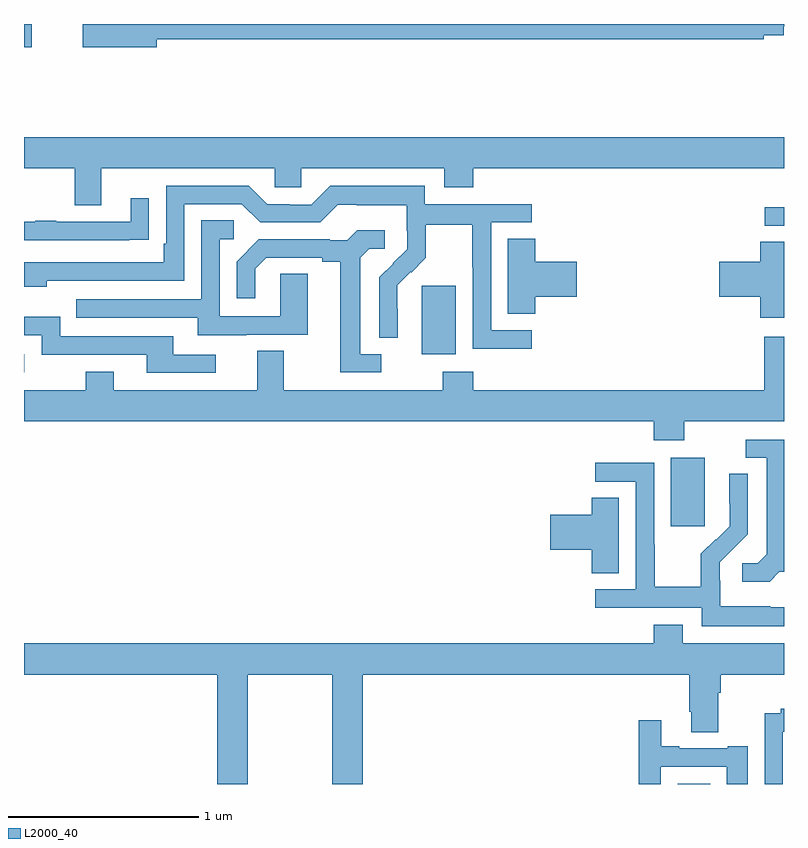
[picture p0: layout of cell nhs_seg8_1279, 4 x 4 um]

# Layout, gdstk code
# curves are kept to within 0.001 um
import gdstk
lib = gdstk.Library(unit=1e-6, precision=1e-09)
def R(c, l, rs):  # rectangles x0, y0, x1, y1
    for r in rs: c.add(gdstk.rectangle(r[:2], r[2:], *l))
def P(c, l, *ps):  # polygons
    for p in ps: c.add(gdstk.Polygon(p, *l))
L2000_40 = (2000, 40)

nhs_seg8_1279 = lib.new_cell('nhs_seg8_1279')
R(nhs_seg8_1279, L2000_40, [(194.441,1139.9,194.611,1139.902), (194.405,1141.257,194.584,1141.618), (191,1142.067,191.002,1142.163), (193.094,1142.162,193.273,1142.523), (194.898,1142.838,195,1142.936), (191,1143.778,191.041,1143.9)])
P(nhs_seg8_1279, L2000_40, [(191.698,1143.82),(194.894,1143.82),(194.894,1143.84),(194.998,1143.84),(194.998,1143.887),(195,1143.887),(195,1143.9),(191.31,1143.9),(191.31,1143.778),(191.698,1143.778)],
  [(191,1143.14),(191.267,1143.14),(191.267,1142.946),(191.407,1142.946),(191.407,1143.14),(192.321,1143.14),(192.321,1143.042),(192.459,1143.042),(192.459,1143.14),(193.211,1143.14),(193.211,1143.041),(193.364,1143.041),(193.364,1143.14),(195,1143.14),(195,1143.304),(191,1143.304)],
  [(193.672,1142.289),(193.458,1142.289),(193.458,1142.856),(193.672,1142.856),(193.672,1142.952),(193.11,1142.952),(193.11,1143.049),(192.613,1143.049),(192.513,1142.949),(192.398,1142.949),(192.398,1142.952),(192.279,1142.952),(192.183,1143.048),(191.748,1143.048),(191.748,1142.743),(191.735,1142.743),(191.735,1142.646),(191,1142.646),(191,1142.516),(191.12,1142.516),(191.12,1142.55),(191.844,1142.55),(191.844,1142.952),(192.147,1142.952),(192.243,1142.856),(192.558,1142.856),(192.651,1142.949),(192.751,1142.949),(192.751,1142.945),(193.014,1142.945),(193.014,1142.811),(193.016,1142.811),(193.016,1142.714),(192.87,1142.566),(192.87,1142.248),(192.966,1142.248),(192.965,1142.525),(193.035,1142.595),(193.038,1142.592),(193.115,1142.669),(193.115,1142.844),(193.36,1142.844),(193.36,1142.62),(193.362,1142.62),(193.362,1142.191),(193.672,1142.191)],
  [(191.555,1142.764),(191.657,1142.764),(191.657,1142.983),(191.561,1142.983),(191.561,1142.859),(191.171,1142.859),(191.171,1142.864),(191.059,1142.864),(191.059,1142.859),(191,1142.859),(191,1142.763),(191.555,1142.763)],
  [(192.169,1142.265),(192.493,1142.265),(192.493,1142.585),(192.348,1142.585),(192.348,1142.361),(192.03,1142.361),(192.03,1142.766),(192.103,1142.766),(192.103,1142.867),(191.934,1142.867),(191.934,1142.451),(191.275,1142.451),(191.275,1142.355),(191.915,1142.355),(191.915,1142.261),(192.169,1142.261)],
  [(192.88,1142.163),(192.769,1142.163),(192.769,1142.671),(192.816,1142.718),(192.898,1142.718),(192.898,1142.815),(192.754,1142.815),(192.702,1142.763),(192.608,1142.763),(192.608,1142.766),(192.236,1142.766),(192.12,1142.65),(192.12,1142.457),(192.217,1142.457),(192.217,1142.613),(192.274,1142.67),(192.569,1142.67),(192.569,1142.648),(192.665,1142.648),(192.665,1142.067),(192.88,1142.067)],
  [(193.691,1142.465),(193.909,1142.465),(193.909,1142.648),(193.691,1142.648),(193.691,1142.771),(193.547,1142.771),(193.547,1142.374),(193.691,1142.374)],
  [(195,1142.753),(194.876,1142.753),(194.876,1142.648),(194.658,1142.648),(194.658,1142.465),(194.876,1142.465),(194.876,1142.355),(195,1142.355)],
  [(192.01,1142.16),(191.785,1142.16),(191.785,1142.256),(191.19,1142.256),(191.19,1142.359),(191,1142.359),(191,1142.262),(191.094,1142.262),(191.094,1142.16),(191.645,1142.16),(191.645,1142.064),(192.01,1142.064)],
  [(194.475,1141.808),(195,1141.808),(195,1142.254),(194.897,1142.254),(194.897,1141.972),(193.364,1141.972),(193.364,1142.071),(193.204,1142.071),(193.204,1141.972),(192.367,1141.972),(192.367,1142.18),(192.227,1142.18),(192.227,1141.972),(191.473,1141.972),(191.473,1142.071),(191.326,1142.071),(191.326,1141.972),(191,1141.972),(191,1141.808),(194.315,1141.808),(194.315,1141.709),(194.475,1141.709)],
  [(194.976,1141.017),(195,1141.017),(195,1141.713),(194.799,1141.713),(194.799,1141.617),(194.909,1141.617),(194.909,1141.109),(194.862,1141.062),(194.781,1141.062),(194.781,1140.965),(194.924,1140.965)],
  [(195,1140.831),(194.927,1140.831),(194.927,1140.835),(194.664,1140.835),(194.664,1140.969),(194.662,1140.969),(194.662,1141.066),(194.808,1141.214),(194.808,1141.532),(194.712,1141.532),(194.712,1141.378),(194.714,1141.378),(194.714,1141.256),(194.643,1141.185),(194.64,1141.188),(194.563,1141.111),(194.563,1140.937),(194.319,1140.937),(194.319,1141.16),(194.316,1141.16),(194.316,1141.59),(194.007,1141.59),(194.007,1141.491),(194.22,1141.491),(194.22,1140.924),(194.007,1140.924),(194.007,1140.828),(194.568,1140.828),(194.568,1140.731),(195,1140.731)],
  [(194.131,1141.406),(193.988,1141.406),(193.988,1141.316),(193.77,1141.316),(193.77,1141.133),(193.988,1141.133),(193.988,1141.009),(194.131,1141.009)],
  [(192.177,1140.476),(192.622,1140.476),(192.622,1139.9),(192.782,1139.9),(192.782,1140.476),(194.501,1140.476),(194.501,1140.28),(194.513,1140.28),(194.513,1140.172),(194.653,1140.172),(194.653,1140.38),(194.666,1140.38),(194.666,1140.476),(195,1140.476),(195,1140.64),(194.467,1140.64),(194.467,1140.739),(194.315,1140.739),(194.315,1140.64),(191,1140.64),(191,1140.476),(192.017,1140.476),(192.017,1139.9),(192.177,1139.9)],
  [(194.994,1140.174),(195,1140.174),(195,1140.295),(194.982,1140.295),(194.982,1140.272),(194.898,1140.272),(194.898,1139.9),(194.994,1139.9)],
  [(194.352,1139.991),(194.699,1139.991),(194.699,1139.9),(194.809,1139.9),(194.809,1140.1),(194.705,1140.1),(194.705,1140.087),(194.449,1140.087),(194.449,1140.1),(194.353,1140.1),(194.353,1140.235),(194.236,1140.235),(194.236,1139.9),(194.352,1139.9)])

lib.write_gds('nhs_seg8_1279.gds')
